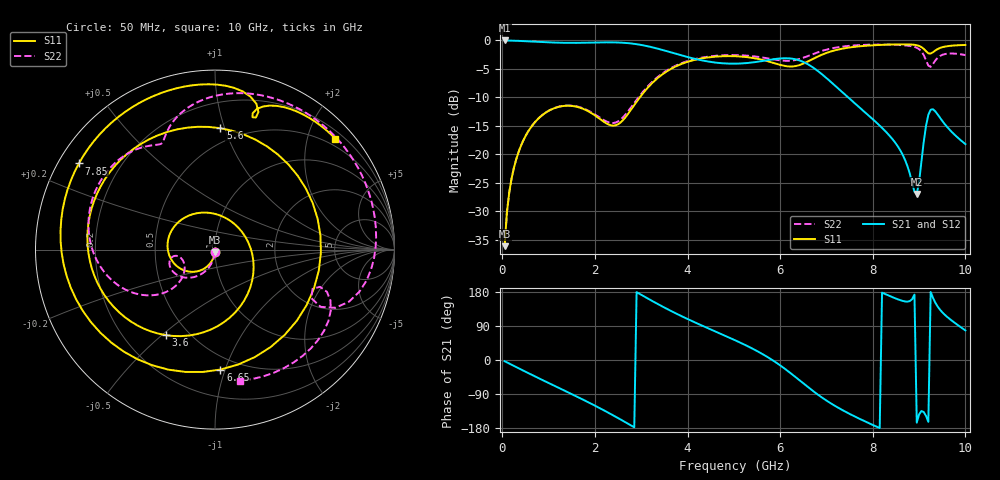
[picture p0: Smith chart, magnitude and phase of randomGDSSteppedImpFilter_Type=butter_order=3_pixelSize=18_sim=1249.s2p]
! freq	dB(S11)	phase(S11)	dB(S12)	phase(S12)
!  dB(S21)	phase(S21)	dB(S22)	phase(S22)
!S-par simulation data
#  GHz  S  DB  R 50
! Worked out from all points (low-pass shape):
!   200 points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, 50 MHz to 10 GHz, reference 50 ohm
!   highest |S21| = -0.01 dB at 50 MHz (marker M1); lowest = -27.0 dB at 8.95 GHz (marker M2)
!   |S21| within 3 dB of the highest: start of sweep to 4.043 GHz
!   lowest |S11| = -36.1 dB at 50 MHz (marker M3), VSWR 1.03, Z = 49.9 - j1.55 ohm
!   |S11| at or under -10 dB: start of sweep to 2.971 GHz
!   |S22| runs from -36.1 to -0.7 dB; largest |S21 - S12| = 0
!   S11 on the Smith chart (normalised r, x): 50 MHz: 1.00, -0.03; 3.6 GHz: 0.38, -0.52; 5.6 GHz: 0.39, +0.97; 6.65 GHz: 0.40, -0.96; 7.85 GHz: 0.06, +0.29; 10 GHz: 0.34, +2.52
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0.05  -36.15 -93.2  -0.01 -3.2  -0.01 -3.2  -36.14 -92.3
0.2  -24.29 -104.4  -0.04 -12.5  -0.04 -12.5  -24.28 -100.9
0.55  -16.12 -129.3  -0.15 -33.9  -0.15 -33.9  -16.10 -119.4
1.15  -11.83 -172.3  -0.38 -69.5  -0.38 -69.5  -11.81 -147.7
1.75  -12.03 138.0  -0.41 -105.0  -0.41 -105.0  -11.95 -168.4
2.65  -13.59 -7.0  -0.43 -163.6  -0.43 -163.6  -13.12 -142.2
3.4  -6.31 -102.6  -1.54 144.9  -1.54 144.9  -6.13 -149.7
3.6  -5.20 -119.9  -2.00 132.1  -2.00 132.1  -5.04 -157.7
4.35  -3.10 -174.7  -3.57 88.8  -3.57 88.8  -2.97 171.8
5.05  -2.78 136.7  -4.08 50.9  -4.08 50.9  -2.58 145.9
5.6  -3.39 87.5  -3.64 17.0  -3.64 17.0  -2.97 128.1
5.9  -4.06 49.3  -3.26 -5.7  -3.26 -5.7  -3.39 120.9
6.2  -4.58 -1.8  -3.15 -32.3  -3.15 -32.3  -3.58 116.6
6.65  -3.49 -87.4  -4.44 -76.3  -4.44 -76.3  -2.58 109.0
6.7  -3.29 -95.7  -4.70 -81.0  -4.70 -81.0  -2.42 107.5
7.25  -1.61 -165.1  -8.42 -125.7  -8.42 -125.7  -1.19 85.1
7.85  -0.94 147.7  -12.75 -163.0  -12.75 -163.0  -0.77 56.4
8.35  -0.73 117.4  -16.63 169.7  -16.63 169.7  -0.74 29.8
8.95  -0.84 83.2  -26.99 -165.4  -26.99 -165.4  -1.29 -11.6
9.25  -2.31 74.2  -12.17 179.5  -12.17 179.5  -4.64 -22.0
9.55  -1.10 64.2  -14.66 119.9  -14.66 119.9  -2.41 -36.6
10  -0.80 42.7  -18.22 78.0  -18.22 78.0  -2.57 -79.3
